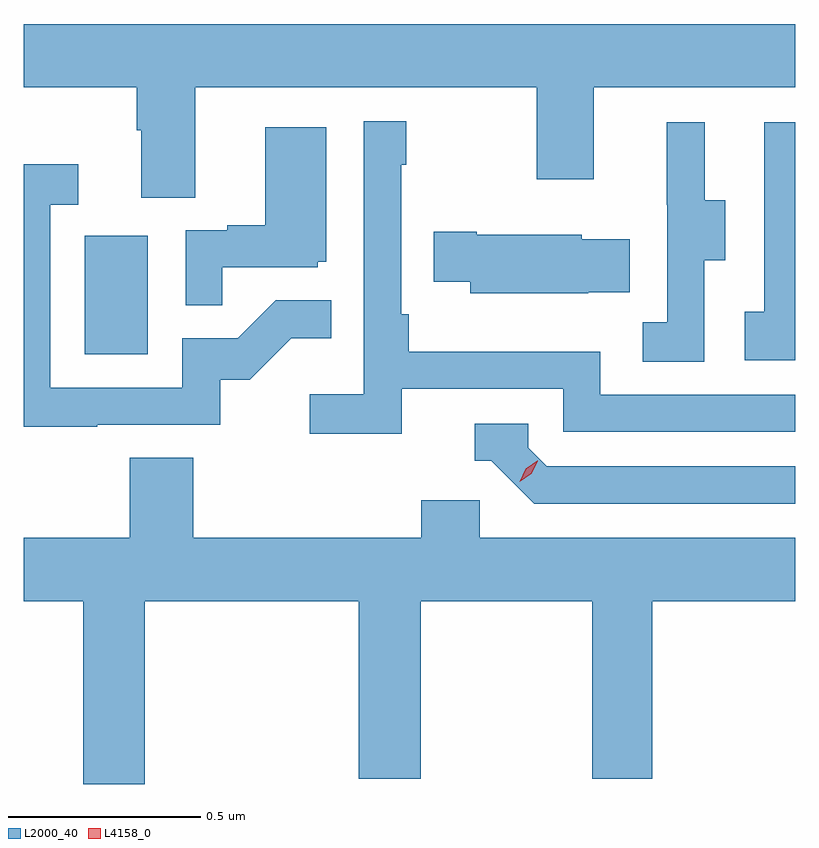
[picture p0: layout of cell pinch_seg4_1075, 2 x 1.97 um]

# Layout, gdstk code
import gdstk
lib = gdstk.Library(unit=1e-6, precision=1e-09)
def R(c, l, rs):  # rectangles x0, y0, x1, y1
    for r in rs: c.add(gdstk.rectangle(r[:2], r[2:], *l))
def P(c, l, *ps):  # polygons
    for p in ps: c.add(gdstk.Polygon(p, *l))
L2000_40 = (2000, 40)
L4158_0 = (4158, 0)

pinch_seg4_1075 = lib.new_cell('pinch_seg4_1075')
R(pinch_seg4_1075, L2000_40, [(846.416,752.172,846.58,752.479)])
P(pinch_seg4_1075, L2000_40, [(846.703,752.864),(847.588,752.864),(847.588,752.625),(847.735,752.625),(847.735,752.864),(848.258,752.864),(848.258,753.028),(846.258,753.028),(846.258,752.864),(846.551,752.864),(846.551,752.752),(846.563,752.752),(846.563,752.578),(846.703,752.578)],
  [(847.238,752.082),(847.656,752.082),(847.656,751.971),(848.258,751.971),(848.258,752.067),(847.752,752.067),(847.752,752.179),(847.256,752.179),(847.256,752.275),(847.236,752.275),(847.236,752.663),(847.249,752.663),(847.249,752.776),(847.14,752.776),(847.14,752.068),(846.999,752.068),(846.999,751.966),(847.238,751.966)],
  [(848.258,752.773),(848.178,752.773),(848.178,752.282),(848.127,752.282),(848.127,752.157),(848.258,752.157)],
  [(848.022,752.416),(848.077,752.416),(848.077,752.571),(848.023,752.571),(848.023,752.773),(847.925,752.773),(847.925,752.559),(847.926,752.559),(847.926,752.255),(847.863,752.255),(847.863,752.152),(848.022,752.152)],
  [(846.773,752.397),(847.02,752.397),(847.02,752.412),(847.042,752.412),(847.042,752.761),(846.884,752.761),(846.884,752.506),(846.785,752.506),(846.785,752.493),(846.678,752.493),(846.678,752.299),(846.773,752.299)],
  [(846.449,751.989),(846.768,751.989),(846.768,752.106),(846.844,752.106),(846.951,752.213),(847.055,752.213),(847.055,752.312),(846.911,752.312),(846.813,752.214),(846.669,752.214),(846.669,752.085),(846.327,752.085),(846.327,752.559),(846.4,752.559),(846.4,752.665),(846.258,752.665),(846.258,751.984),(846.449,751.984)],
  [(847.721,752.333),(847.829,752.333),(847.829,752.47),(847.704,752.47),(847.704,752.482),(847.432,752.482),(847.432,752.49),(847.321,752.49),(847.321,752.36),(847.415,752.36),(847.415,752.33),(847.721,752.33)],
  [(848.258,751.881),(847.614,751.881),(847.566,751.929),(847.566,751.992),(847.427,751.992),(847.427,751.896),(847.47,751.896),(847.581,751.785),(848.258,751.785)],
  [(846.572,751.532),(847.127,751.532),(847.127,751.071),(847.287,751.071),(847.287,751.532),(847.732,751.532),(847.732,751.071),(847.887,751.071),(847.887,751.532),(848.258,751.532),(848.258,751.696),(847.44,751.696),(847.44,751.794),(847.289,751.794),(847.289,751.696),(846.698,751.696),(846.698,751.904),(846.533,751.904),(846.533,751.696),(846.258,751.696),(846.258,751.532),(846.412,751.532),(846.412,751.058),(846.572,751.058)])
P(pinch_seg4_1075, L4158_0, [(847.544,751.842),(847.544,751.842),(847.559,751.875),(847.589,751.896),(847.59,751.896),(847.59,751.895),(847.574,751.862),(847.544,751.842)])

lib.write_gds('pinch_seg4_1075.gds')
